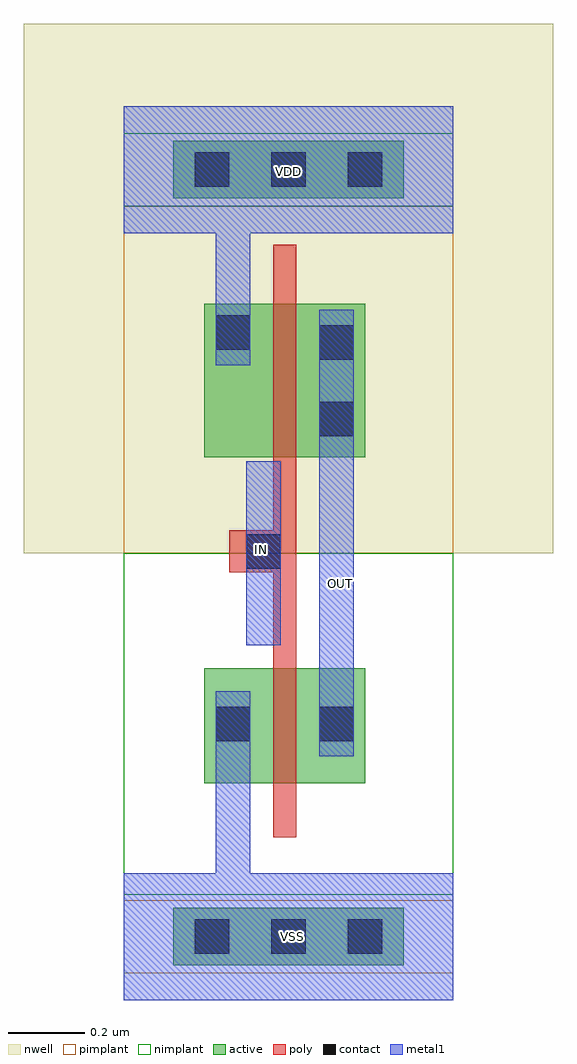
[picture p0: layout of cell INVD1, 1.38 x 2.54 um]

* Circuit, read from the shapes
.subckt INVD1 IN OUT VDD VSS
M1 OUT IN VSS VSS nfet w=0.3u l=0.06u
M2 OUT IN VDD VDD pfet w=0.4u l=0.06u
.ends

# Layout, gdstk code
import gdstk
lib = gdstk.Library(unit=1e-6, precision=1e-09)
def R(c, l, rs):  # rectangles x0, y0, x1, y1
    for r in rs: c.add(gdstk.rectangle(r[:2], r[2:], *l))
def A(c, l, x, y, w, h, nx, ny, dx, dy):  # array of equal rectangles
    R(c, l, [(x+i*dx, y+j*dy, x+i*dx+w, y+j*dy+h) for i in range(nx) for j in range(ny)])
nwell = (3, 0)
active = (6, 0)
poly = (17, 0)
pimplant = (25, 0)
nimplant = (26, 0)
contact = (30, 0)
metal1 = (31, 0)

invd1 = lib.new_cell('INVD1')
R(invd1, nwell, [(0.24,-1.165,1.62,0.215), (0.5,-0.33,1.36,0)])
R(invd1, active, [(0.63,-2.24,1.23,-2.09), (0.71,-1.765,1.13,-1.465), (0.71,-0.915,1.13,-0.515), (0.63,-0.24,1.23,-0.09)])
R(invd1, poly, [(0.89,-1.905,0.95,-0.36), (0.775,-1.215,0.95,-1.105)])
R(invd1, pimplant, [(0.5,-2.26,1.36,-2.07), (0.5,-1.165,1.36,-0.26)])
R(invd1, nimplant, [(0.5,-2.055,1.36,-1.165), (0.5,-0.26,1.36,-0.07)])
A(invd1, contact, 0.685, -2.21, 0.09, 0.09, 3, 2, 0.2, 2)
R(invd1, contact, [(0.74,-1.655,0.83,-1.565), (1.01,-1.655,1.1,-1.565), (0.82,-1.205,0.91,-1.115), (1.01,-0.86,1.1,-0.77), (1.01,-0.66,1.1,-0.57), (0.74,-0.635,0.83,-0.545)])
R(invd1, metal1, [(0.5,-2.33,1.36,-2), (0.74,-2.04,0.83,-1.525), (1.01,-1.695,1.1,-0.53), (0.82,-1.405,0.91,-0.925), (0.74,-0.675,0.83,-0.29), (0.5,-0.33,1.36,0)])
invd1.add(gdstk.Label('VDD', (0.93,-0.17), layer=131, texttype=0))
invd1.add(gdstk.Label('VSS', (0.94,-2.165), layer=131, texttype=0))
invd1.add(gdstk.Label('IN', (0.86,-1.155), layer=131, texttype=0))
invd1.add(gdstk.Label('OUT', (1.065,-1.245), layer=131, texttype=0))

lib.write_gds('INVD1.gds')
